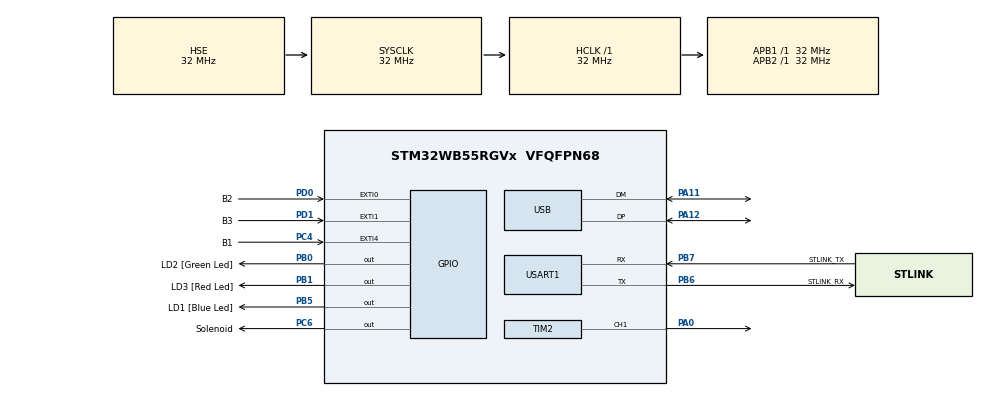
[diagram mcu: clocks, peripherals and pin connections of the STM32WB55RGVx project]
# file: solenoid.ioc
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Mcu.Family=STM32WB
Mcu.Name=STM32WB55RGVx
Mcu.Package=VFQFPN68
NVIC.EXTI0_IRQn=true\:0\:0\:false\:false\:true\:true\:true\:true
NVIC.EXTI1_IRQn=true\:0\:0\:false\:false\:true\:true\:true\:true
NVIC.EXTI4_IRQn=true\:0\:0\:false\:false\:true\:true\:true\:true
NVIC.PriorityGroup=NVIC_PRIORITYGROUP_4
OSC_IN.Mode=HSE-External-Oscillator
OSC_IN.Signal=RCC_OSC_IN
OSC_OUT.Mode=HSE-External-Oscillator
OSC_OUT.Signal=RCC_OSC_OUT
PA0.Signal=S_TIM2_CH1
PA11.Mode=Device
PA11.Signal=USB_DM
PA12.Mode=Device
PA12.Signal=USB_DP
PA13.GPIO_Label=JTMS
PA13.Mode=Trace_Asynchronous_SW
PA13.Signal=SYS_JTMS-SWDIO
PA14.GPIO_Label=JTCK
PA14.Mode=Trace_Asynchronous_SW
PA14.Signal=SYS_JTCK-SWCLK
PB0.GPIO_Label=LD2 [Green Led]
PB0.Signal=GPIO_Output
PB1.GPIO_Label=LD3 [Red Led]
PB1.Signal=GPIO_Output
PB3.GPIO_Label=JTDO
PB3.Mode=Trace_Asynchronous_SW
PB3.Signal=SYS_JTDO-SWO
PB5.GPIO_Label=LD1 [Blue Led]
PB5.Signal=GPIO_Output
PB6.GPIO_Label=STLINK_RX
PB6.GPIO_PuPd=GPIO_PULLUP
PB6.Mode=Asynchronous
PB6.Signal=USART1_TX
PB7.GPIO_Label=STLINK_TX
PB7.GPIO_PuPd=GPIO_PULLUP
PB7.Mode=Asynchronous
PB7.Signal=USART1_RX
PC13.Mode=SYS_WakeUp1
PC13.Signal=SYS_WKUP2
PC14-OSC32_IN.Mode=LSE-External-Oscillator
PC14-OSC32_IN.Signal=RCC_OSC32_IN
PC15-OSC32_OUT.Mode=LSE-External-Oscillator
PC15-OSC32_OUT.Signal=RCC_OSC32_OUT
PC4.GPIO_Label=B1
PC4.GPIO_PuPd=GPIO_PULLUP
PC4.Signal=GPXTI4
PC6.GPIO_Label=Solenoid
PC6.GPIO_PuPd=GPIO_PULLUP
PC6.Signal=GPIO_Output
PD0.GPIO_Label=B2
PD0.GPIO_PuPd=GPIO_PULLUP
PD0.Signal=GPXTI0
PD1.GPIO_Label=B3
PD1.GPIO_PuPd=GPIO_PULLUP
PD1.Signal=GPXTI1
ProjectManager.HeapSize=0x200
ProjectManager.StackSize=0x400
ProjectManager.TargetToolchain=STM32CubeIDE
RCC.ADCFreq_Value=48000000
RCC.AHBFreq_Value=32000000
RCC.APB1Freq_Value=32000000
RCC.APB1TimFreq_Value=32000000
RCC.APB2Freq_Value=32000000
RCC.APB2TimFreq_Value=32000000
RCC.APB3Freq_Value=16000000
RCC.CortexFreq_Value=32000000
RCC.HCLKFreq_Value=32000000
RCC.HSE_VALUE=32000000
RCC.HSI48_VALUE=48000000
RCC.HSI_VALUE=16000000
RCC.LSE_Drive_Capability=RCC_LSEDRIVE_LOW
RCC.PLLN=32
RCC.PLLSAI1N=24
RCC.SMPSCLockSelectionVirtual=RCC_SMPSCLKSOURCE_HSI
RCC.SMPSCLockSelectionVirtualVirtual=RCC_SMPSCLKSOURCE_HSI
RCC.SMPSDivider=1
RCC.SYSCLKFreq_VALUE=32000000
RCC.SYSCLKSource=RCC_SYSCLKSOURCE_HSE
RCC.USBFreq_Value=48000000
RCC.VCOOutputFreq_Value=128000000
SH.S_TIM2_CH1.0=TIM2_CH1,PWM Generation1 CH1
TIM2.AutoReloadPreload=TIM_AUTORELOAD_PRELOAD_ENABLE
TIM2.Channel-PWM\ Generation1\ CH1=TIM_CHANNEL_1
TIM2.Period=255
USART1.VirtualMode-Asynchronous=VM_ASYNC
USART1.WordLength=WORDLENGTH_7B
VP_MEMORYMAP_VS_MEMORYMAP.Mode=CurAppReg
VP_TIM2_VS_ClockSourceINT.Mode=Internal
board=NUCLEO-WB55RG

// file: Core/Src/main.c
/* USER CODE BEGIN Header */
/**
  ******************************************************************************
  * @file           : main.c
  * @brief          : Main program body
  ******************************************************************************
  * @attention
  *
  * Copyright (c) 2024 STMicroelectronics.
  * All rights reserved.
  *
  * This software is licensed under terms that can be found in the LICENSE file
  * in the root directory of this software component.
  * If no LICENSE file comes with this software, it is provided AS-IS.
  *
  ******************************************************************************
  */
/* USER CODE END Header */
#include "main.h"

TIM_HandleTypeDef htim2;

UART_HandleTypeDef huart1;

PCD_HandleTypeDef hpcd_USB_FS;

/* USER CODE BEGIN PV */
uint32_t state;
uint32_t state_changed;
/* USER CODE END PV */

void SystemClock_Config(void);
void PeriphCommonClock_Config(void);
static void MX_GPIO_Init(void);
static void MX_TIM2_Init(void);
static void MX_USART1_UART_Init(void);
static void MX_USB_PCD_Init(void);
/* USER CODE BEGIN PFP */
void Update_PWM(uint32_t);
void Solenoid_Up();
void Solenoid_Down();
void Red_On();
void Red_Off();
void Green_On();
void Green_Off();
void Blue_On();
void Blue_Off();
/* USER CODE END PFP */

int main(void)
{

  /* MCU Configuration--------------------------------------------------------*/

  /* Reset of all peripherals, Initializes the Flash interface and the Systick. */
  HAL_Init();

  /* Configure the system clock */
  SystemClock_Config();

/* Configure the peripherals common clocks */
  PeriphCommonClock_Config();

  /* Initialize all configured peripherals */
  MX_GPIO_Init();
  MX_TIM2_Init();
  MX_USART1_UART_Init();
  MX_USB_PCD_Init();
  /* USER CODE BEGIN 2 */
  HAL_TIM_PWM_Start(&htim2, TIM_CHANNEL_1);
  Solenoid_Down();
  //Update_PWM(0);
  state = 0;
  state_changed = 0;
  /* USER CODE END 2 */

  /* Infinite loop */
  /* USER CODE BEGIN WHILE */
  while (1)
  {
	  if (state == 0){
		  if (state_changed == 1)
		  {
			  //Update_PWM(0);
			  Solenoid_Down();
			  state_changed = 0;
		  }

		  Blue_On();
		  Green_Off();
		  Red_Off();
	  }
	  else if (state == 1){
		  if (state_changed == 1)
		  {
			  //Update_PWM(50);
			  state_changed = 0;
		  }

		  Blue_Off();
		  Green_On();
		  Red_Off();
	  }
	  else if (state == 2){
		  if (state_changed == 1)
		  {
			  //Update_PWM(100);
			  Solenoid_Up();
			  state_changed = 0;
		  }

		  Blue_Off();
		  Green_Off();
		  Red_On();
	  }
	  else{
		  state = 0;
	  }
    /* USER CODE END WHILE */

  }
}

void SystemClock_Config(void)
{
  RCC_OscInitTypeDef RCC_OscInitStruct = {0};
  RCC_ClkInitTypeDef RCC_ClkInitStruct = {0};

  /** Macro to configure the PLL multiplication factor
  */
  __HAL_RCC_PLL_PLLM_CONFIG(RCC_PLLM_DIV1);

  /** Macro to configure the PLL clock source
  */
  __HAL_RCC_PLL_PLLSOURCE_CONFIG(RCC_PLLSOURCE_MSI);

  /** Configure LSE Drive Capability
  */
  HAL_PWR_EnableBkUpAccess();
  __HAL_RCC_LSEDRIVE_CONFIG(RCC_LSEDRIVE_LOW);

  /** Configure the main internal regulator output voltage
  */
  __HAL_PWR_VOLTAGESCALING_CONFIG(PWR_REGULATOR_VOLTAGE_SCALE1);

  /** Initializes the RCC Oscillators according to the specified parameters
  * in the RCC_OscInitTypeDef structure.
  */
  RCC_OscInitStruct.OscillatorType = RCC_OSCILLATORTYPE_HSI|RCC_OSCILLATORTYPE_HSE
                              |RCC_OSCILLATORTYPE_LSE|RCC_OSCILLATORTYPE_MSI;
  RCC_OscInitStruct.HSEState = RCC_HSE_ON;
  RCC_OscInitStruct.LSEState = RCC_LSE_ON;
  RCC_OscInitStruct.HSIState = RCC_HSI_ON;
  RCC_OscInitStruct.MSIState = RCC_MSI_ON;
  RCC_OscInitStruct.HSICalibrationValue = RCC_HSICALIBRATION_DEFAULT;
  RCC_OscInitStruct.MSICalibrationValue = RCC_MSICALIBRATION_DEFAULT;
  RCC_OscInitStruct.MSIClockRange = RCC_MSIRANGE_6;
  RCC_OscInitStruct.PLL.PLLState = RCC_PLL_NONE;
  if (HAL_RCC_OscConfig(&RCC_OscInitStruct) != HAL_OK)
  {
    Error_Handler();
  }

  /** Configure the SYSCLKSource, HCLK, PCLK1 and PCLK2 clocks dividers
  */
  RCC_ClkInitStruct.ClockType = RCC_CLOCKTYPE_HCLK4|RCC_CLOCKTYPE_HCLK2
                              |RCC_CLOCKTYPE_HCLK|RCC_CLOCKTYPE_SYSCLK
                              |RCC_CLOCKTYPE_PCLK1|RCC_CLOCKTYPE_PCLK2;
  RCC_ClkInitStruct.SYSCLKSource = RCC_SYSCLKSOURCE_HSE;
  RCC_ClkInitStruct.AHBCLKDivider = RCC_SYSCLK_DIV1;
  RCC_ClkInitStruct.APB1CLKDivider = RCC_HCLK_DIV1;
  RCC_ClkInitStruct.APB2CLKDivider = RCC_HCLK_DIV1;
  RCC_ClkInitStruct.AHBCLK2Divider = RCC_SYSCLK_DIV1;
  RCC_ClkInitStruct.AHBCLK4Divider = RCC_SYSCLK_DIV1;

  if (HAL_RCC_ClockConfig(&RCC_ClkInitStruct, FLASH_LATENCY_1) != HAL_OK)
  {
    Error_Handler();
  }

  /** Enable MSI Auto calibration
  */
  HAL_RCCEx_EnableMSIPLLMode();
}

void PeriphCommonClock_Config(void)
{
  RCC_PeriphCLKInitTypeDef PeriphClkInitStruct = {0};

  /** Initializes the peripherals clock
  */
  PeriphClkInitStruct.PeriphClockSelection = RCC_PERIPHCLK_SMPS;
  PeriphClkInitStruct.SmpsClockSelection = RCC_SMPSCLKSOURCE_HSI;
  PeriphClkInitStruct.SmpsDivSelection = RCC_SMPSCLKDIV_RANGE0;

  if (HAL_RCCEx_PeriphCLKConfig(&PeriphClkInitStruct) != HAL_OK)
  {
    Error_Handler();
  }
}

static void MX_TIM2_Init(void)
{

  TIM_ClockConfigTypeDef sClockSourceConfig = {0};
  TIM_MasterConfigTypeDef sMasterConfig = {0};
  TIM_OC_InitTypeDef sConfigOC = {0};

  htim2.Instance = TIM2;
  htim2.Init.Prescaler = 0;
  htim2.Init.CounterMode = TIM_COUNTERMODE_UP;
  htim2.Init.Period = 255;
  htim2.Init.ClockDivision = TIM_CLOCKDIVISION_DIV1;
  htim2.Init.AutoReloadPreload = TIM_AUTORELOAD_PRELOAD_ENABLE;
  if (HAL_TIM_Base_Init(&htim2) != HAL_OK)
  {
    Error_Handler();
  }
  sClockSourceConfig.ClockSource = TIM_CLOCKSOURCE_INTERNAL;
  if (HAL_TIM_ConfigClockSource(&htim2, &sClockSourceConfig) != HAL_OK)
  {
    Error_Handler();
  }
  if (HAL_TIM_PWM_Init(&htim2) != HAL_OK)
  {
    Error_Handler();
  }
  sMasterConfig.MasterOutputTrigger = TIM_TRGO_RESET;
  sMasterConfig.MasterSlaveMode = TIM_MASTERSLAVEMODE_DISABLE;
  if (HAL_TIMEx_MasterConfigSynchronization(&htim2, &sMasterConfig) != HAL_OK)
  {
    Error_Handler();
  }
  sConfigOC.OCMode = TIM_OCMODE_PWM1;
  sConfigOC.Pulse = 0;
  sConfigOC.OCPolarity = TIM_OCPOLARITY_HIGH;
  sConfigOC.OCFastMode = TIM_OCFAST_DISABLE;
  if (HAL_TIM_PWM_ConfigChannel(&htim2, &sConfigOC, TIM_CHANNEL_1) != HAL_OK)
  {
    Error_Handler();
  }
  HAL_TIM_MspPostInit(&htim2);

}

static void MX_USART1_UART_Init(void)
{

  huart1.Instance = USART1;
  huart1.Init.BaudRate = 115200;
  huart1.Init.WordLength = UART_WORDLENGTH_7B;
  huart1.Init.StopBits = UART_STOPBITS_1;
  huart1.Init.Parity = UART_PARITY_NONE;
  huart1.Init.Mode = UART_MODE_TX_RX;
  huart1.Init.HwFlowCtl = UART_HWCONTROL_NONE;
  huart1.Init.OverSampling = UART_OVERSAMPLING_16;
  huart1.Init.OneBitSampling = UART_ONE_BIT_SAMPLE_DISABLE;
  huart1.Init.ClockPrescaler = UART_PRESCALER_DIV1;
  huart1.AdvancedInit.AdvFeatureInit = UART_ADVFEATURE_NO_INIT;
  if (HAL_UART_Init(&huart1) != HAL_OK)
  {
    Error_Handler();
  }
  if (HAL_UARTEx_SetTxFifoThreshold(&huart1, UART_TXFIFO_THRESHOLD_1_8) != HAL_OK)
  {
    Error_Handler();
  }
  if (HAL_UARTEx_SetRxFifoThreshold(&huart1, UART_RXFIFO_THRESHOLD_1_8) != HAL_OK)
  {
    Error_Handler();
  }
  if (HAL_UARTEx_DisableFifoMode(&huart1) != HAL_OK)
  {
    Error_Handler();
  }

}

static void MX_USB_PCD_Init(void)
{

  hpcd_USB_FS.Instance = USB;
  hpcd_USB_FS.Init.dev_endpoints = 8;
  hpcd_USB_FS.Init.speed = PCD_SPEED_FULL;
  hpcd_USB_FS.Init.phy_itface = PCD_PHY_EMBEDDED;
  hpcd_USB_FS.Init.Sof_enable = DISABLE;
  hpcd_USB_FS.Init.low_power_enable = DISABLE;
  hpcd_USB_FS.Init.lpm_enable = DISABLE;
  hpcd_USB_FS.Init.battery_charging_enable = DISABLE;
  if (HAL_PCD_Init(&hpcd_USB_FS) != HAL_OK)
  {
    Error_Handler();
  }

}

static void MX_GPIO_Init(void)
{
  GPIO_InitTypeDef GPIO_InitStruct = {0};

  /* GPIO Ports Clock Enable */
  __HAL_RCC_GPIOC_CLK_ENABLE();
  __HAL_RCC_GPIOA_CLK_ENABLE();
  __HAL_RCC_GPIOB_CLK_ENABLE();
  __HAL_RCC_GPIOD_CLK_ENABLE();

  /*Configure GPIO pin Output Level */
  HAL_GPIO_WritePin(GPIOB, LD2_Pin|LD3_Pin|LD1_Pin, GPIO_PIN_RESET);

  /*Configure GPIO pin Output Level */
  HAL_GPIO_WritePin(Solenoid_GPIO_Port, Solenoid_Pin, GPIO_PIN_RESET);

  /*Configure GPIO pin : B1_Pin */
  GPIO_InitStruct.Pin = B1_Pin;
  GPIO_InitStruct.Mode = GPIO_MODE_IT_RISING;
  GPIO_InitStruct.Pull = GPIO_PULLUP;
  HAL_GPIO_Init(B1_GPIO_Port, &GPIO_InitStruct);

  /*Configure GPIO pins : LD2_Pin LD3_Pin LD1_Pin */
  GPIO_InitStruct.Pin = LD2_Pin|LD3_Pin|LD1_Pin;
  GPIO_InitStruct.Mode = GPIO_MODE_OUTPUT_PP;
  GPIO_InitStruct.Pull = GPIO_NOPULL;
  GPIO_InitStruct.Speed = GPIO_SPEED_FREQ_LOW;
  HAL_GPIO_Init(GPIOB, &GPIO_InitStruct);

  /*Configure GPIO pin : Solenoid_Pin */
  GPIO_InitStruct.Pin = Solenoid_Pin;
  GPIO_InitStruct.Mode = GPIO_MODE_OUTPUT_PP;
  GPIO_InitStruct.Pull = GPIO_PULLUP;
  GPIO_InitStruct.Speed = GPIO_SPEED_FREQ_LOW;
  HAL_GPIO_Init(Solenoid_GPIO_Port, &GPIO_InitStruct);

  /*Configure GPIO pins : B2_Pin B3_Pin */
  GPIO_InitStruct.Pin = B2_Pin|B3_Pin;
  GPIO_InitStruct.Mode = GPIO_MODE_IT_RISING;
  GPIO_InitStruct.Pull = GPIO_PULLUP;
  HAL_GPIO_Init(GPIOD, &GPIO_InitStruct);

  /* EXTI interrupt init*/
  HAL_NVIC_SetPriority(EXTI0_IRQn, 0, 0);
  HAL_NVIC_EnableIRQ(EXTI0_IRQn);

  HAL_NVIC_SetPriority(EXTI1_IRQn, 0, 0);
  HAL_NVIC_EnableIRQ(EXTI1_IRQn);

  HAL_NVIC_SetPriority(EXTI4_IRQn, 0, 0);
  HAL_NVIC_EnableIRQ(EXTI4_IRQn);

}

/* USER CODE BEGIN 4 */
void Solenoid_Up()
{
	HAL_GPIO_WritePin(Solenoid_GPIO_Port, Solenoid_Pin, GPIO_PIN_SET);
}

void Solenoid_Down()
{
	HAL_GPIO_WritePin(Solenoid_GPIO_Port, Solenoid_Pin, GPIO_PIN_RESET);
}

void Update_PWM(uint32_t duty)
{
	uint32_t CCR = (TIM2->ARR)*(duty/100.0);
	__HAL_TIM_SET_COMPARE(&htim2, TIM_CHANNEL_1, CCR);
}

void Red_On()
{
	HAL_GPIO_WritePin(GPIOB, GPIO_PIN_1, GPIO_PIN_SET);
}

void Red_Off()
{
	HAL_GPIO_WritePin(GPIOB, GPIO_PIN_1, GPIO_PIN_RESET);
}

void Green_On()
{
	HAL_GPIO_WritePin(GPIOB, GPIO_PIN_0, GPIO_PIN_SET);
}

void Green_Off()
{
	HAL_GPIO_WritePin(GPIOB, GPIO_PIN_0, GPIO_PIN_RESET);
}

void Blue_On()
{
	HAL_GPIO_WritePin(GPIOB, GPIO_PIN_5, GPIO_PIN_SET);
}

void Blue_Off()
{
	HAL_GPIO_WritePin(GPIOB, GPIO_PIN_5, GPIO_PIN_RESET);
}

void HAL_GPIO_EXTI_Callback(uint16_t GPIO_PIN)
{
	if(GPIO_PIN == B1_Pin){state = 0;}      //10
	else if(GPIO_PIN == B2_Pin){state = 1;} //1
	else if(GPIO_PIN == B3_Pin){state = 2;} //2
	state_changed = 1;
}
/* USER CODE END 4 */

void Error_Handler(void)
{
  __disable_irq();
  while (1)
  {
  }
}
